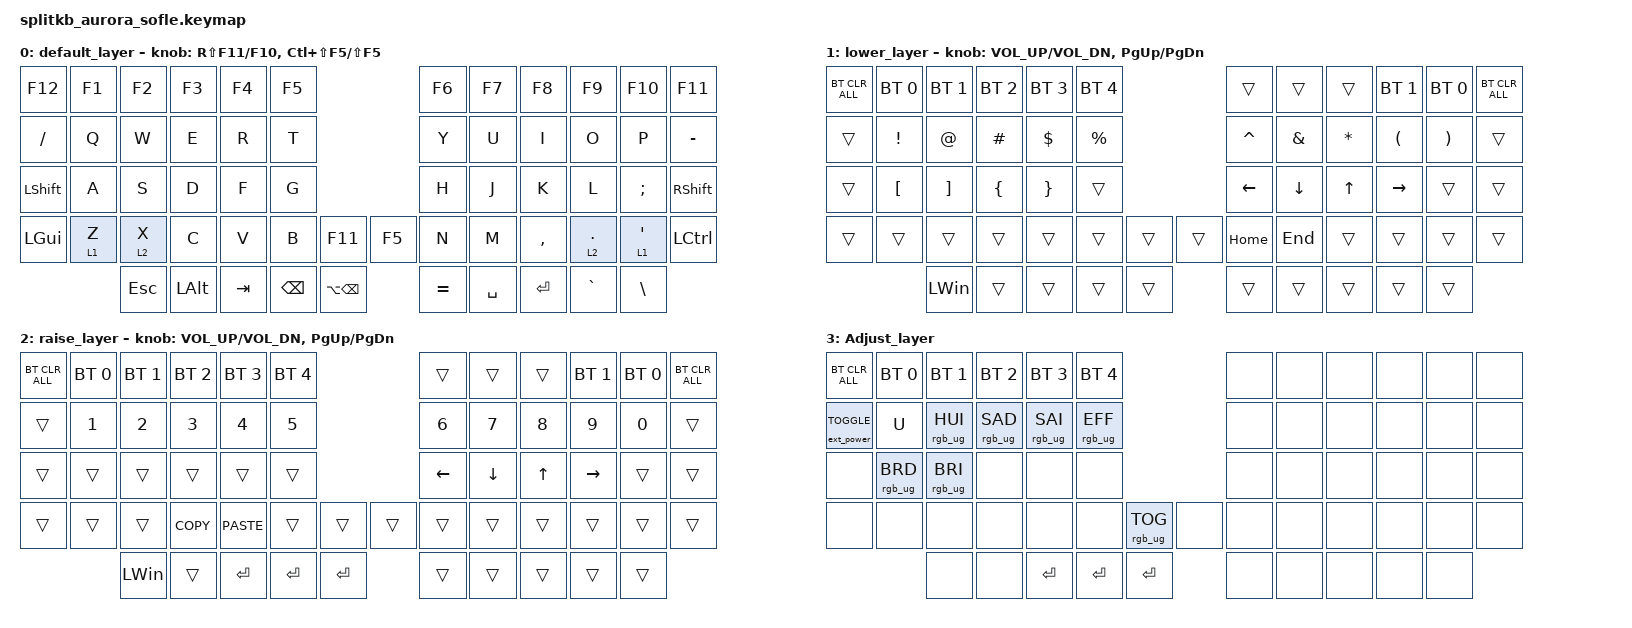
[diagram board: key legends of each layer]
/*
 * Copyright (c) 2020 The ZMK Contributors
 *
 * SPDX-License-Identifier: MIT
 */

#include <behaviors.dtsi>
#include <dt-bindings/zmk/bt.h>
#include <dt-bindings/zmk/ext_power.h>
#include <dt-bindings/zmk/keys.h>
#include <dt-bindings/zmk/rgb.h>

#define BASE 0
#define LOWER 1
#define RAISE 2
#define ADJUST 3

/ {
combos {
    cmd-left-arrow-combo {
        timeout-ms = <50>;  /* Combo must be pressed within 50 ms */
        key-positions = <34 29>; /* Assuming these are the correct key positions */
        bindings = <&kp HOME>;
    };
    cmd-right-arrow-combo {
        timeout-ms = <50>;  /* Combo must be pressed within 50 ms */
        key-positions = <34 30>; /* Assuming LGUI is 0 and RIGHT_ARROW is 20 */
        bindings = <&kp END>;
    };
};


    // Activate ADJUST layer by pressing raise and lower

    conditional_layers {
        compatible = "zmk,conditional-layers";

        adjust_layer {
            if-layers = <LOWER RAISE>;
            then-layer = <ADJUST>;
        };
    };

    keymap {
        compatible = "zmk,keymap";

        default_layer {
            bindings = <
&kp F12           &kp F1   &kp F2      &kp F3    &kp F4   &kp F5                                  &kp F6     &kp F7   &kp F8     &kp F9        &kp F10    &kp F11
&kp SLASH         &kp Q    &kp W       &kp E     &kp R    &kp T                                   &kp Y      &kp U    &kp I      &kp O          &kp P      &kp MINUS
&kp LEFT_SHIFT    &kp A    &kp S       &kp D     &kp F    &kp G                                   &kp H      &kp J    &kp K      &kp L          &kp SEMI   &kp RIGHT_SHIFT
&kp LGUI  &lt 1 Z  &lt 2 X     &kp C     &kp V    &kp B          &kp F11       &kp F5     &kp N      &kp M    &kp COMMA  &lt 2 DOT      &lt 1 SQT  &kp LEFT_CONTROL
                           &kp ESCAPE  &kp LALT  &kp TAB  &kp BACKSPACE  &kp LA(BSPC) &kp EQUAL  &kp SPACE  &kp RET  &kp GRAVE  &kp BACKSLASH
            >;

            sensor-bindings =
                <&inc_dec_kp RS(F11) F10>,
                <&inc_dec_kp LC(LS(F5)) LS(F5)>;
        };

        lower_layer {

            bindings = <
&bt BT_CLR_ALL  &bt BT_SEL 0      &bt BT_SEL 1       &bt BT_SEL 2    &bt BT_SEL 3     &bt BT_SEL 4                    &trans          &trans          &trans        &bt BT_SEL 1    &bt BT_SEL 0    &bt BT_CLR_ALL 
&trans          &kp EXCL          &kp AT             &kp HASH        &kp DOLLAR       &kp PERCENT                     &kp CARET       &kp AMPS        &kp STAR      &kp LEFT_PARENTHESIS  &kp RIGHT_PARENTHESIS  &trans
&trans          &kp LEFT_BRACKET  &kp RIGHT_BRACKET  &kp LEFT_BRACE  &kp RIGHT_BRACE  &trans                          &kp LEFT_ARROW  &kp DOWN_ARROW  &kp UP_ARROW  &kp RIGHT_ARROW       &trans                 &trans
&trans          &trans            &trans             &trans          &trans           &trans        &trans    &trans  &kp HOME  &kp END         &trans        &trans                &trans                 &trans
                                  &kp LEFT_WIN            &trans          &trans          &trans       &trans       &trans  &trans          &trans          &trans        &trans
            >;

            sensor-bindings = <&inc_dec_kp C_VOL_UP C_VOL_DN &inc_dec_kp PG_UP PG_DN>;
        };

        raise_layer {
            bindings = <
&bt BT_CLR_ALL  &bt BT_SEL 0      &bt BT_SEL 1       &bt BT_SEL 2    &bt BT_SEL 3     &bt BT_SEL 4                    &trans          &trans          &trans        &bt BT_SEL 1 &bt BT_SEL 0   &bt BT_CLR_ALL 
&trans          &kp N1        &kp N2        &kp N3        &kp N4        &kp N5                          &kp NUMBER_6  &kp N7          &kp N8        &kp N9     &kp N0  &trans
&trans          &trans        &trans        &trans        &trans        &trans                          &kp LEFT      &kp DOWN_ARROW  &kp UP_ARROW  &kp RIGHT  &trans  &trans
&trans          &trans        &trans        &kp K_COPY    &kp K_PASTE   &trans        &trans    &trans  &trans        &trans          &trans        &trans     &trans  &trans
                              &kp LEFT_WIN    &trans        &kp RET        &kp RET      &kp RET    &trans  &trans        &trans          &trans        &trans
            >;

            sensor-bindings = <&inc_dec_kp C_VOL_UP C_VOL_DN &inc_dec_kp PG_UP PG_DN>;
        };

        Adjust_layer {
            bindings = <
&bt BT_CLR_ALL                   &bt BT_SEL 0     &bt BT_SEL 1     &bt BT_SEL 2     &bt BT_SEL 3     &bt BT_SEL 4                               &none  &none  &none  &none  &none  &none
&ext_power EXT_POWER_TOGGLE_CMD  &kp U            &rgb_ug RGB_HUI  &rgb_ug RGB_SAD  &rgb_ug RGB_SAI  &rgb_ug RGB_EFF                            &none  &none  &none  &none  &none  &none
&none                            &rgb_ug RGB_BRD  &rgb_ug RGB_BRI  &none            &none            &none                                      &none  &none  &none  &none  &none  &none
&none                            &none            &none            &none            &none            &none            &rgb_ug RGB_TOG    &none  &none  &none  &none  &none  &none  &none
                                                  &none            &none            &kp RET          &kp RET          &kp RET              &none  &none  &none  &none  &none
            >;
        };
    };
};
